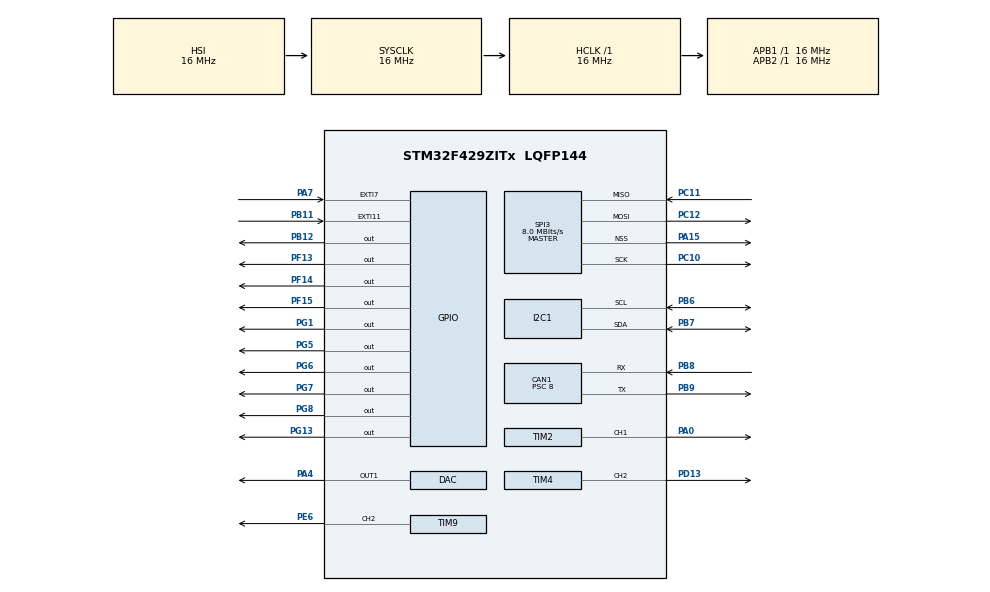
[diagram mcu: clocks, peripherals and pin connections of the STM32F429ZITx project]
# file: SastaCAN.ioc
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CAN1.BS1=CAN_BS1_2TQ
CAN1.CalculateBaudRate=500000
CAN1.CalculateTimeBit=2000.00
CAN1.CalculateTimeQuantum=500.0
CAN1.NART=DISABLE
CAN1.Prescaler=8
CAN1.TTCM=ENABLE
I2C1.OwnAddress=0
Mcu.Family=STM32F4
Mcu.Name=STM32F429ZITx
Mcu.Package=LQFP144
NVIC.CAN1_RX0_IRQn=true\:0\:0\:false\:false\:true\:true\:true
NVIC.EXTI15_10_IRQn=true\:0\:0\:false\:false\:true\:true\:true
NVIC.PriorityGroup=NVIC_PRIORITYGROUP_4
PA0/WKUP.Signal=S_TIM2_CH1_ETR
PA15.Mode=NSS_Signal_Hard_Output
PA15.Signal=SPI3_NSS
PA4.Signal=COMP_DAC1_group
PA7.Signal=GPXTI7
PB11.GPIO_PuPd=GPIO_NOPULL
PB11.Signal=GPXTI11
PB12.Signal=GPIO_Output
PB6.Mode=I2C
PB6.Signal=I2C1_SCL
PB7.Mode=I2C
PB7.Signal=I2C1_SDA
PB8.Mode=CAN_Activate
PB8.Signal=CAN1_RX
PB9.Mode=CAN_Activate
PB9.Signal=CAN1_TX
PC10.Mode=Full_Duplex_Master
PC10.Signal=SPI3_SCK
PC11.Mode=Full_Duplex_Master
PC11.Signal=SPI3_MISO
PC12.Mode=Full_Duplex_Master
PC12.Signal=SPI3_MOSI
PD13.Signal=S_TIM4_CH2
PE6.Signal=S_TIM9_CH2
PF13.Signal=GPIO_Output
PF14.Signal=GPIO_Output
PF15.Signal=GPIO_Output
PG1.Signal=GPIO_Output
PG13.Signal=GPIO_Output
PG5.Signal=GPIO_Output
PG6.Signal=GPIO_Output
PG7.Signal=GPIO_Output
PG8.Signal=GPIO_Output
PH0/OSC_IN.Mode=HSE-External-Oscillator
PH0/OSC_IN.Signal=RCC_OSC_IN
PH1/OSC_OUT.Mode=HSE-External-Oscillator
PH1/OSC_OUT.Signal=RCC_OSC_OUT
ProjectManager.HeapSize=0x200
ProjectManager.StackSize=0x400
ProjectManager.TargetToolchain=STM32CubeIDE
RCC.48MHZClocksFreq_Value=48000000
RCC.AHBFreq_Value=16000000
RCC.APB1Freq_Value=16000000
RCC.APB2Freq_Value=16000000
RCC.CortexFreq_Value=16000000
RCC.HSE_VALUE=16000000
RCC.HSI_VALUE=16000000
RCC.LSE_VALUE=32768
RCC.PLLSourceVirtual=RCC_PLLSOURCE_HSE
RCC.SYSCLKFreq_VALUE=16000000
RCC.VCOOutputFreq_Value=192000000
SH.COMP_DAC1_group.0=DAC_OUT1,DAC_OUT1
SH.S_TIM2_CH1_ETR.0=TIM2_CH1,PWM Generation1 CH1
SH.S_TIM4_CH2.0=TIM4_CH2,PWM Generation2 CH2
SH.S_TIM9_CH2.0=TIM9_CH2,PWM Generation2 CH2
SPI3.CalculateBaudRate=8.0 MBits/s
SPI3.Direction=SPI_DIRECTION_2LINES
SPI3.Mode=SPI_MODE_MASTER
SPI3.VirtualNSS=VM_NSSHARD
SPI3.VirtualType=VM_MASTER
TIM2.Channel-PWM\ Generation1\ CH1=TIM_CHANNEL_1
TIM2.Period=99
TIM2.Prescaler=15
TIM2.Pulse-PWM\ Generation1\ CH1=50
TIM4.Channel-PWM\ Generation2\ CH2=TIM_CHANNEL_2
TIM4.Period=99
TIM4.Prescaler=15
TIM4.Pulse-PWM\ Generation2\ CH2=50
TIM9.Channel-PWM\ Generation2\ CH2=TIM_CHANNEL_2
TIM9.Period=99
TIM9.Prescaler=15
TIM9.Pulse-PWM\ Generation2\ CH2=50
board=custom

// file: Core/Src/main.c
/* USER CODE BEGIN Header */
/**
  ******************************************************************************
  * @file           : main.c
  * @brief          : Main program body
  ******************************************************************************
  * @attention
  *
  * <h2><center>&copy; Copyright (c) 2021 STMicroelectronics.
  * All rights reserved.</center></h2>
  *
  * This software component is licensed by ST under BSD 3-Clause license,
  * the "License"; You may not use this file except in compliance with the
  * License. You may obtain a copy of the License at:
  *                        opensource.org/licenses/BSD-3-Clause
  *
  ******************************************************************************
  */

/*
 ***************************
 *    Flow chart summary   *
 ***************************
 *
 * 1. Board powered
 * 2. TSMS bit will send to front board board
 * 3. Front board after receiving data sent data to rear board received using interrupt.
 * 4. After receiving message id is matched
 * 5. if id matched: flagAction takes placed()
 * 6. Data send to motor controller, brakeLight()
 * **************************
 * tsms value is received using GPIOinterrupt
 ****************************
 */

/* USER CODE END Header */
#include "main.h"

CAN_HandleTypeDef hcan1;

DAC_HandleTypeDef hdac;

I2C_HandleTypeDef hi2c1;

SPI_HandleTypeDef hspi3;

TIM_HandleTypeDef htim2;
TIM_HandleTypeDef htim4;
TIM_HandleTypeDef htim9;

/* USER CODE BEGIN PV */
//uint8_t TxData[8];
//uint16_t RxData[4];
uint16_t id;
uint8_t analog;
uint32_t temp=0;

uint8_t tsms = 0;						//represent status of TS: false -> TS is off | true -> TS is on ||| feedback signal from RearECU
uint16_t APPS_range_err = 0;				//false -> in range | true -> out of range
uint16_t brk_range_err = 0;					//false -> in range | true -> out of range

uint16_t apps_avg = 0;
uint16_t brk_avg = 0;				//apps_avg -> APPS value | brk -> Brake value

//CAN vatiables
uint16_t front_rearid = 0x19;			//CAN message ID: front and rear comm.
uint8_t TxData[8];
uint16_t RxData[4];

uint16_t rtds_id = 0x10;
uint16_t rtds=0;

//Brakev vars
uint16_t brakelight_thresh = 1200;

uint32_t timestamp = 0;

//-------------------------------------------------------------------
uint16_t arr[4];
uint8_t brr[2];
/* USER CODE END PV */

void SystemClock_Config(void);
static void MX_GPIO_Init(void);
static void MX_CAN1_Init(void);
static void MX_TIM2_Init(void);
static void MX_DAC_Init(void);
static void MX_TIM4_Init(void);
static void MX_TIM9_Init(void);
static void MX_I2C1_Init(void);
static void MX_SPI3_Init(void);
/* USER CODE BEGIN PFP */
//void CANStart();
//void CANTransmit(uint32_t id,uint32_t IDE,uint32_t RTR,uint32_t DLC,uint8_t *data);
uint16_t flagsAction();
void transmitAPPSvalue();
void HAL_GPIO_EXTI_Callback(uint16_t GPIO_Pin);
void HAL_CAN_RxFifo0MsgPendingCallback(CAN_HandleTypeDef *hcan1);
void brakeLight();
void transmitAPPSvalue_DAC();
HAL_StatusTypeDef HAL_CAN_AddTxMessageType1(CAN_HandleTypeDef *hcan, CAN_TxHeaderTypeDef *pHeader, uint16_t aData[], uint8_t bData[], uint32_t *pTxMailbox);
void CANTransmit2(uint32_t id,uint32_t IDE,uint32_t RTR,uint32_t DLC,uint16_t *data1,uint16_t *data2);

/* USER CODE END PFP */

int main(void)
{

  /* MCU Configuration--------------------------------------------------------*/

  /* Reset of all peripherals, Initializes the Flash interface and the Systick. */
  HAL_Init();

  /* Configure the system clock */
  SystemClock_Config();

  /* Initialize all configured peripherals */
  MX_GPIO_Init();
  MX_CAN1_Init();
  MX_TIM2_Init();
  MX_DAC_Init();
  MX_TIM4_Init();
  MX_TIM9_Init();
  MX_I2C1_Init();
  MX_SPI3_Init();
  /* USER CODE BEGIN 2 */

//  HAL_TIM_Base_Start(&htim2);
//  HAL_TIM_PWM_Start(&htim2, TIM_CHANNEL_1);
//  //CANStart();
//
//  HAL_TIM_Base_Start(&htim4);
//  HAL_TIM_PWM_Start(&htim4, TIM_CHANNEL_2);
//
//  HAL_TIM_Base_Start(&htim9);
//  HAL_TIM_PWM_Start(&htim9, TIM_CHANNEL_2);
//
//  HAL_DAC_Start(&hdac, DAC_CHANNEL_1);
//  HAL_DAC_SetValue(&hdac, DAC_CHANNEL_1, DAC_ALIGN_12B_R, 0);
//
//  CAN_Start(&hcan1, CAN_IT_RX_FIFO0_MSG_PENDING | CAN_IT_RX_FIFO0_FULL | CAN_IT_RX_FIFO0_OVERRUN);
  /* USER CODE END 2 */

  /* Infinite loop */
  /* USER CODE BEGIN WHILE */
  while (1) {
//
	  TxData[1] = 123;
	  HAL_I2C_Slave_Transmit(&hi2c1, TxData, 8, 1000);
//	  arr[0] = 1235;
//	  arr[1] = 233;
//	  arr[2] = 0b111111011111;
//	  brr[0] = 34;
//	  brr[1] = 242;
//	  TxData[0] = 253;
	  //CAN_Transmit(&hcan1, front_rearid, 8, TxData);
	  //CANTransmit2(front_rearid, 0, 0, 8, arr, brr);
	  //CANTransmit(front_rearid, 0, 0, 8, TxData);
//	  transmitAPPSvalue();
//	  transmitAPPSvalue_DAC();
//	  brakeLight();
//	  HAL_Delay(10);
//	  //HAL_GPIO_TogglePin (GPIOG, GPIO_PIN_6);
//	  uint8_t DATA1[] = {1,4,3,2,1,12,5,4};
//
//	  //if(id==306)
//	 // CANTransmit((uint32_t)0x02, 0, 0, 8, DATA1);
//	  //HAL_Delay(500);
//	  //CANReceive();
//	  HAL_GPIO_TogglePin (GPIOG, GPIO_PIN_5);
//	  //HAL_DAC_SetValue(&hdac, DAC_CHANNEL_2, DAC_ALIGN_12B_R, 3000);
////	  HAL_DAC_SetValue(&hdac, DAC_CHANNEL_2, DAC_ALIGN_12B_R, temp);
////
////	  if (temp>360000) temp = 10000;
//	  //else temp = temp+2000;
//	  //HAL_GPIO_TogglePin (GPIOB, GPIO_PIN_12);
//	  //HAL_GPIO_TogglePin (GPIOG, GPIO_PIN_5);
//
//	  //__HAL_TIM_SET_COMPARE(&htim2, TIM_CHANNEL_1, analog/5*100);
//
//	  //HAL_Delay(5000);
//	  //HAL_DAC_SetValue(&hdac, DAC_CHANNEL_1, DAC_ALIGN_8B_R, 200);
//	  //transmitAPPSvalue_DAC();
//	  	  	  //Remove delay and switch to interrupts
//	  HAL_Delay(200);
    /* USER CODE END WHILE */

  }
}

void SystemClock_Config(void)
{
  RCC_OscInitTypeDef RCC_OscInitStruct = {0};
  RCC_ClkInitTypeDef RCC_ClkInitStruct = {0};

  /** Configure the main internal regulator output voltage
  */
  __HAL_RCC_PWR_CLK_ENABLE();
  __HAL_PWR_VOLTAGESCALING_CONFIG(PWR_REGULATOR_VOLTAGE_SCALE3);
  /** Initializes the RCC Oscillators according to the specified parameters
  * in the RCC_OscInitTypeDef structure.
  */
  RCC_OscInitStruct.OscillatorType = RCC_OSCILLATORTYPE_HSI;
  RCC_OscInitStruct.HSIState = RCC_HSI_ON;
  RCC_OscInitStruct.HSICalibrationValue = RCC_HSICALIBRATION_DEFAULT;
  RCC_OscInitStruct.PLL.PLLState = RCC_PLL_NONE;
  if (HAL_RCC_OscConfig(&RCC_OscInitStruct) != HAL_OK)
  {
    Error_Handler();
  }
  /** Initializes the CPU, AHB and APB buses clocks
  */
  RCC_ClkInitStruct.ClockType = RCC_CLOCKTYPE_HCLK|RCC_CLOCKTYPE_SYSCLK
                              |RCC_CLOCKTYPE_PCLK1|RCC_CLOCKTYPE_PCLK2;
  RCC_ClkInitStruct.SYSCLKSource = RCC_SYSCLKSOURCE_HSI;
  RCC_ClkInitStruct.AHBCLKDivider = RCC_SYSCLK_DIV1;
  RCC_ClkInitStruct.APB1CLKDivider = RCC_HCLK_DIV1;
  RCC_ClkInitStruct.APB2CLKDivider = RCC_HCLK_DIV1;

  if (HAL_RCC_ClockConfig(&RCC_ClkInitStruct, FLASH_LATENCY_0) != HAL_OK)
  {
    Error_Handler();
  }
}

static void MX_CAN1_Init(void)
{

  hcan1.Instance = CAN1;
  hcan1.Init.Prescaler = 8;
  hcan1.Init.Mode = CAN_MODE_NORMAL;
  hcan1.Init.SyncJumpWidth = CAN_SJW_1TQ;
  hcan1.Init.TimeSeg1 = CAN_BS1_2TQ;
  hcan1.Init.TimeSeg2 = CAN_BS2_1TQ;
  hcan1.Init.TimeTriggeredMode = ENABLE;
  hcan1.Init.AutoBusOff = DISABLE;
  hcan1.Init.AutoWakeUp = DISABLE;
  hcan1.Init.AutoRetransmission = DISABLE;
  hcan1.Init.ReceiveFifoLocked = DISABLE;
  hcan1.Init.TransmitFifoPriority = DISABLE;
  if (HAL_CAN_Init(&hcan1) != HAL_OK)
  {
    Error_Handler();
  }

}

static void MX_DAC_Init(void)
{

  DAC_ChannelConfTypeDef sConfig = {0};

  /** DAC Initialization
  */
  hdac.Instance = DAC;
  if (HAL_DAC_Init(&hdac) != HAL_OK)
  {
    Error_Handler();
  }
  /** DAC channel OUT1 config
  */
  sConfig.DAC_Trigger = DAC_TRIGGER_NONE;
  sConfig.DAC_OutputBuffer = DAC_OUTPUTBUFFER_ENABLE;
  if (HAL_DAC_ConfigChannel(&hdac, &sConfig, DAC_CHANNEL_1) != HAL_OK)
  {
    Error_Handler();
  }

}

static void MX_I2C1_Init(void)
{

  hi2c1.Instance = I2C1;
  hi2c1.Init.ClockSpeed = 100000;
  hi2c1.Init.DutyCycle = I2C_DUTYCYCLE_2;
  hi2c1.Init.OwnAddress1 = 0;
  hi2c1.Init.AddressingMode = I2C_ADDRESSINGMODE_7BIT;
  hi2c1.Init.DualAddressMode = I2C_DUALADDRESS_DISABLE;
  hi2c1.Init.OwnAddress2 = 0;
  hi2c1.Init.GeneralCallMode = I2C_GENERALCALL_DISABLE;
  hi2c1.Init.NoStretchMode = I2C_NOSTRETCH_DISABLE;
  if (HAL_I2C_Init(&hi2c1) != HAL_OK)
  {
    Error_Handler();
  }
  /** Configure Analogue filter
  */
  if (HAL_I2CEx_ConfigAnalogFilter(&hi2c1, I2C_ANALOGFILTER_ENABLE) != HAL_OK)
  {
    Error_Handler();
  }
  /** Configure Digital filter
  */
  if (HAL_I2CEx_ConfigDigitalFilter(&hi2c1, 0) != HAL_OK)
  {
    Error_Handler();
  }

}

static void MX_SPI3_Init(void)
{

  /* SPI3 parameter configuration*/
  hspi3.Instance = SPI3;
  hspi3.Init.Mode = SPI_MODE_MASTER;
  hspi3.Init.Direction = SPI_DIRECTION_2LINES;
  hspi3.Init.DataSize = SPI_DATASIZE_8BIT;
  hspi3.Init.CLKPolarity = SPI_POLARITY_LOW;
  hspi3.Init.CLKPhase = SPI_PHASE_1EDGE;
  hspi3.Init.NSS = SPI_NSS_HARD_OUTPUT;
  hspi3.Init.BaudRatePrescaler = SPI_BAUDRATEPRESCALER_2;
  hspi3.Init.FirstBit = SPI_FIRSTBIT_MSB;
  hspi3.Init.TIMode = SPI_TIMODE_DISABLE;
  hspi3.Init.CRCCalculation = SPI_CRCCALCULATION_DISABLE;
  hspi3.Init.CRCPolynomial = 10;
  if (HAL_SPI_Init(&hspi3) != HAL_OK)
  {
    Error_Handler();
  }

}

static void MX_TIM2_Init(void)
{

  TIM_MasterConfigTypeDef sMasterConfig = {0};
  TIM_OC_InitTypeDef sConfigOC = {0};

  htim2.Instance = TIM2;
  htim2.Init.Prescaler = 15;
  htim2.Init.CounterMode = TIM_COUNTERMODE_UP;
  htim2.Init.Period = 99;
  htim2.Init.ClockDivision = TIM_CLOCKDIVISION_DIV1;
  htim2.Init.AutoReloadPreload = TIM_AUTORELOAD_PRELOAD_DISABLE;
  if (HAL_TIM_PWM_Init(&htim2) != HAL_OK)
  {
    Error_Handler();
  }
  sMasterConfig.MasterOutputTrigger = TIM_TRGO_RESET;
  sMasterConfig.MasterSlaveMode = TIM_MASTERSLAVEMODE_DISABLE;
  if (HAL_TIMEx_MasterConfigSynchronization(&htim2, &sMasterConfig) != HAL_OK)
  {
    Error_Handler();
  }
  sConfigOC.OCMode = TIM_OCMODE_PWM1;
  sConfigOC.Pulse = 50;
  sConfigOC.OCPolarity = TIM_OCPOLARITY_HIGH;
  sConfigOC.OCFastMode = TIM_OCFAST_DISABLE;
  if (HAL_TIM_PWM_ConfigChannel(&htim2, &sConfigOC, TIM_CHANNEL_1) != HAL_OK)
  {
    Error_Handler();
  }
  HAL_TIM_MspPostInit(&htim2);

}

static void MX_TIM4_Init(void)
{

  TIM_MasterConfigTypeDef sMasterConfig = {0};
  TIM_OC_InitTypeDef sConfigOC = {0};

  htim4.Instance = TIM4;
  htim4.Init.Prescaler = 15;
  htim4.Init.CounterMode = TIM_COUNTERMODE_UP;
  htim4.Init.Period = 99;
  htim4.Init.ClockDivision = TIM_CLOCKDIVISION_DIV1;
  htim4.Init.AutoReloadPreload = TIM_AUTORELOAD_PRELOAD_DISABLE;
  if (HAL_TIM_PWM_Init(&htim4) != HAL_OK)
  {
    Error_Handler();
  }
  sMasterConfig.MasterOutputTrigger = TIM_TRGO_RESET;
  sMasterConfig.MasterSlaveMode = TIM_MASTERSLAVEMODE_DISABLE;
  if (HAL_TIMEx_MasterConfigSynchronization(&htim4, &sMasterConfig) != HAL_OK)
  {
    Error_Handler();
  }
  sConfigOC.OCMode = TIM_OCMODE_PWM1;
  sConfigOC.Pulse = 50;
  sConfigOC.OCPolarity = TIM_OCPOLARITY_HIGH;
  sConfigOC.OCFastMode = TIM_OCFAST_DISABLE;
  if (HAL_TIM_PWM_ConfigChannel(&htim4, &sConfigOC, TIM_CHANNEL_2) != HAL_OK)
  {
    Error_Handler();
  }
  HAL_TIM_MspPostInit(&htim4);

}

static void MX_TIM9_Init(void)
{

  TIM_OC_InitTypeDef sConfigOC = {0};

  htim9.Instance = TIM9;
  htim9.Init.Prescaler = 15;
  htim9.Init.CounterMode = TIM_COUNTERMODE_UP;
  htim9.Init.Period = 99;
  htim9.Init.ClockDivision = TIM_CLOCKDIVISION_DIV1;
  htim9.Init.AutoReloadPreload = TIM_AUTORELOAD_PRELOAD_DISABLE;
  if (HAL_TIM_PWM_Init(&htim9) != HAL_OK)
  {
    Error_Handler();
  }
  sConfigOC.OCMode = TIM_OCMODE_PWM1;
  sConfigOC.Pulse = 50;
  sConfigOC.OCPolarity = TIM_OCPOLARITY_HIGH;
  sConfigOC.OCFastMode = TIM_OCFAST_DISABLE;
  if (HAL_TIM_PWM_ConfigChannel(&htim9, &sConfigOC, TIM_CHANNEL_2) != HAL_OK)
  {
    Error_Handler();
  }
  HAL_TIM_MspPostInit(&htim9);

}

static void MX_GPIO_Init(void)
{
  GPIO_InitTypeDef GPIO_InitStruct = {0};

  /* GPIO Ports Clock Enable */
  __HAL_RCC_GPIOE_CLK_ENABLE();
  __HAL_RCC_GPIOH_CLK_ENABLE();
  __HAL_RCC_GPIOA_CLK_ENABLE();
  __HAL_RCC_GPIOF_CLK_ENABLE();
  __HAL_RCC_GPIOG_CLK_ENABLE();
  __HAL_RCC_GPIOB_CLK_ENABLE();
  __HAL_RCC_GPIOD_CLK_ENABLE();
  __HAL_RCC_GPIOC_CLK_ENABLE();

  /*Configure GPIO pin Output Level */
  HAL_GPIO_WritePin(GPIOF, GPIO_PIN_13|GPIO_PIN_14|GPIO_PIN_15, GPIO_PIN_RESET);

  /*Configure GPIO pin Output Level */
  HAL_GPIO_WritePin(GPIOG, GPIO_PIN_1|GPIO_PIN_5|GPIO_PIN_6|GPIO_PIN_7
                          |GPIO_PIN_8|GPIO_PIN_13, GPIO_PIN_RESET);

  /*Configure GPIO pin Output Level */
  HAL_GPIO_WritePin(GPIOB, GPIO_PIN_12, GPIO_PIN_RESET);

  /*Configure GPIO pin : PA7 */
  GPIO_InitStruct.Pin = GPIO_PIN_7;
  GPIO_InitStruct.Mode = GPIO_MODE_IT_RISING;
  GPIO_InitStruct.Pull = GPIO_NOPULL;
  HAL_GPIO_Init(GPIOA, &GPIO_InitStruct);

  /*Configure GPIO pins : PF13 PF14 PF15 */
  GPIO_InitStruct.Pin = GPIO_PIN_13|GPIO_PIN_14|GPIO_PIN_15;
  GPIO_InitStruct.Mode = GPIO_MODE_OUTPUT_PP;
  GPIO_InitStruct.Pull = GPIO_NOPULL;
  GPIO_InitStruct.Speed = GPIO_SPEED_FREQ_LOW;
  HAL_GPIO_Init(GPIOF, &GPIO_InitStruct);

  /*Configure GPIO pins : PG1 PG5 PG6 PG7
                           PG8 PG13 */
  GPIO_InitStruct.Pin = GPIO_PIN_1|GPIO_PIN_5|GPIO_PIN_6|GPIO_PIN_7
                          |GPIO_PIN_8|GPIO_PIN_13;
  GPIO_InitStruct.Mode = GPIO_MODE_OUTPUT_PP;
  GPIO_InitStruct.Pull = GPIO_NOPULL;
  GPIO_InitStruct.Speed = GPIO_SPEED_FREQ_LOW;
  HAL_GPIO_Init(GPIOG, &GPIO_InitStruct);

  /*Configure GPIO pin : PB11 */
  GPIO_InitStruct.Pin = GPIO_PIN_11;
  GPIO_InitStruct.Mode = GPIO_MODE_IT_RISING;
  GPIO_InitStruct.Pull = GPIO_NOPULL;
  HAL_GPIO_Init(GPIOB, &GPIO_InitStruct);

  /*Configure GPIO pin : PB12 */
  GPIO_InitStruct.Pin = GPIO_PIN_12;
  GPIO_InitStruct.Mode = GPIO_MODE_OUTPUT_PP;
  GPIO_InitStruct.Pull = GPIO_NOPULL;
  GPIO_InitStruct.Speed = GPIO_SPEED_FREQ_LOW;
  HAL_GPIO_Init(GPIOB, &GPIO_InitStruct);

  /* EXTI interrupt init*/
  HAL_NVIC_SetPriority(EXTI15_10_IRQn, 0, 0);
  HAL_NVIC_EnableIRQ(EXTI15_10_IRQn);

}

/* USER CODE BEGIN 4 */
//void CANStart()
//{
//	  CAN_FilterTypeDef filter;
//	  filter.FilterActivation = ENABLE;
//	  filter.FilterFIFOAssignment = CAN_FILTER_FIFO0;
//
//	  // Allow two IDs per entry
//	  filter.FilterScale = CAN_FILTERSCALE_16BIT;
//	  filter.FilterMode = CAN_FILTERMODE_IDMASK;
//
//	  filter.FilterMaskIdHigh = 0x0000;
//	  filter.FilterMaskIdLow  = 0x0000;
//
//	  filter.FilterIdLow  = 0x0000;
//	  filter.FilterIdHigh = 0x0000;
//
//	  filter.FilterBank = 0;
//
//
//	  if (HAL_CAN_ConfigFilter(&hcan1, &filter) != HAL_OK) {
//		  Error_Handler();
//	  }
//
//	  if (HAL_CAN_Start(&hcan1) != HAL_OK) {
//		  Error_Handler();
//	  }
//
//	  if(HAL_CAN_ActivateNotification(&hcan1, CAN_IT_RX_FIFO0_MSG_PENDING | CAN_IT_RX_FIFO0_FULL | CAN_IT_RX_FIFO0_OVERRUN) != HAL_OK){
//		  Error_Handler();
//	  }
//
//}
//
//void CANTransmit(uint32_t id,uint32_t IDE,uint32_t RTR,uint32_t DLC,uint8_t *data)
//{
//  uint32_t mailbox = 0x00U;
//  CAN_TxHeaderTypeDef Header;
//  Header.StdId= id;
//  Header.IDE= IDE;
//  Header.RTR= RTR;
//  Header.DLC= DLC;
//
//  if(HAL_CAN_GetTxMailboxesFreeLevel(&hcan1)>0) {
//	  if(HAL_CAN_AddTxMessage(&hcan1, &Header, data , &mailbox) == HAL_OK){
//		  //printf("HALOK\n");
//		  HAL_GPIO_TogglePin (GPIOG, GPIO_PIN_6);
//		  HAL_GPIO_TogglePin (GPIOF, GPIO_PIN_14);
//		  while(HAL_CAN_IsTxMessagePending(&hcan1,mailbox));
//	  }
//	  else {
//		  //printf("HALERROR\n");
//	  }
//
//  }
//  else
//  	  HAL_GPIO_TogglePin (GPIOG, GPIO_PIN_5);
//}
//
//
//void HAL_CAN_RxFifo0MsgPendingCallback(CAN_HandleTypeDef *hcan1) {
//	CAN_RxHeaderTypeDef Header;
//	//if(hcan -> Instance == CAN1)
//	if(HAL_CAN_GetRxMessage(hcan1, CAN_RX_FIFO0, &Header, RxData)==HAL_OK) {
//		  HAL_GPIO_TogglePin (GPIOG, GPIO_PIN_7);
//		  HAL_GPIO_TogglePin (GPIOF, GPIO_PIN_14);
//	  }
//}
//
///*
//void CANReceive()
//{
//  CAN_RxHeaderTypeDef Header;
//  if(HAL_CAN_GetRxMessage(&hcan1, CAN_RX_FIFO0, &Header, RxData)==HAL_OK) {
//	  id = Header.StdId;
//	  HAL_GPIO_TogglePin (GPIOG, GPIO_PIN_6);
//	  HAL_GPIO_TogglePin (GPIOF, GPIO_PIN_14);
//  }
//}
//
//*/
//
//void HAL_GPIO_EXTI_Callback(uint16_t GPIO_Pin)
//{
//  /* Prevent unused argument(s) compilation warning */
//  UNUSED(GPIO_Pin);
//  /* NOTE: This function Should not be modified, when the callback is needed,
//           the HAL_GPIO_EXTI_Callback could be implemented in the user file
//   */
//
//  //---------------- TSMS received using GPIO interrupt --------------------
//  if(GPIO_Pin == GPIO_PIN_11)
//  {
//	  HAL_GPIO_TogglePin(GPIOG, GPIO_PIN_6);
//	  //HALDelay(10);
//  }
//  //------------------------------------------------------------------------
//}
//
//void transmitAPPSvalue_DAC(){
//	temp=3000/3300 *(1<<12);
//	HAL_DAC_SetValue(&hdac, DAC_CHANNEL_1, DAC_ALIGN_8B_R, 200);
//}

void CANStart()
{
	  CAN_FilterTypeDef filter;
	  filter.FilterActivation = ENABLE;
	  filter.FilterFIFOAssignment = CAN_FILTER_FIFO0;

	  // Allow two IDs per entry
	  filter.FilterScale = CAN_FILTERSCALE_16BIT;
	  filter.FilterMode = CAN_FILTERMODE_IDMASK;

	  filter.FilterMaskIdHigh = 0x0000;
	  filter.FilterMaskIdLow  = 0x0000;

	  filter.FilterIdLow  = 0x0000;
	  filter.FilterIdHigh = 0x0000;

	  filter.FilterBank = 0;

	  if (HAL_CAN_ConfigFilter(&hcan1, &filter) != HAL_OK) {
		  Error_Handler();
	  }

	  if (HAL_CAN_Start(&hcan1) != HAL_OK) {
		  Error_Handler();
	  }

	  if(HAL_CAN_ActivateNotification(&hcan1, CAN_IT_RX_FIFO0_MSG_PENDING | CAN_IT_RX_FIFO0_FULL | CAN_IT_RX_FIFO0_OVERRUN) != HAL_OK){
		  Error_Handler();
	  }

}

void CANTransmit(uint32_t id,uint32_t IDE,uint32_t RTR,uint32_t DLC,uint8_t *data)
{
  uint32_t mailbox = 0x00U;
  CAN_TxHeaderTypeDef Header;
  Header.StdId= id;
  Header.IDE= IDE;
  Header.RTR= RTR;
  Header.DLC= DLC;

  if(HAL_CAN_GetTxMailboxesFreeLevel(&hcan1)>0) {
	  HAL_CAN_AddTxMessage(&hcan1, &Header, data , &mailbox);
	  HAL_GPIO_TogglePin (GPIOG, GPIO_PIN_8);
  }
  else HAL_GPIO_TogglePin (GPIOG, GPIO_PIN_7);
}

void CANTransmit2(uint32_t id,uint32_t IDE,uint32_t RTR,uint32_t DLC,uint16_t *data1,uint16_t *data2)
{
  uint32_t mailbox = 0x00U;
  CAN_TxHeaderTypeDef Header;
  Header.StdId= id;
  Header.IDE= IDE;
  Header.RTR= RTR;
  Header.DLC= DLC;

  if(HAL_CAN_GetTxMailboxesFreeLevel(&hcan1)>0) {
	  HAL_CAN_AddTxMessageType1(&hcan1, &Header, data1, data2, &mailbox);
	  HAL_GPIO_TogglePin (GPIOG, GPIO_PIN_8);
  }
  else HAL_GPIO_TogglePin (GPIOG, GPIO_PIN_7);
}

void HAL_CAN_RxFifo0MsgPendingCallback(CAN_HandleTypeDef *hcan1) {
	CAN_RxHeaderTypeDef Header;
	if(HAL_CAN_GetRxMessage(hcan1, CAN_RX_FIFO0, &Header, (uint8_t *)RxData)==HAL_OK) {
		timestamp = Header.Timestamp + HAL_GetTick();
		if(Header.StdId==0x14){
			  HAL_GPIO_TogglePin (GPIOG, GPIO_PIN_8);
			  apps_avg = RxData[0];
			  brk_avg = RxData[1];
			  APPS_range_err = RxData[2];
			  brk_range_err = RxData[3];
			  //flagsAction();
		}
		if(Header.StdId==0x10){
			  rtds=RxData[0];
			  if(rtds==1) HAL_GPIO_WritePin(GPIOB, GPIO_PIN_12, 1);
		}
	  }
	  else {
		  HAL_GPIO_TogglePin (GPIOG, GPIO_PIN_7);
	  }
}

void HAL_GPIO_EXTI_Callback(uint16_t GPIO_Pin)
{
  /* Prevent unused argument(s) compilation warning */
  UNUSED(GPIO_Pin);
  /* NOTE: This function Should not be modified, when the callback is needed,
           the HAL_GPIO_EXTI_Callback could be implemented in the user file
   */

  //---------------- TSMS received using GPIO interrupt --------------------
  if(GPIO_Pin == GPIO_PIN_7)
  {
	  if(!tsms) tsms = 1;
	  else tsms = 0;
	  HAL_GPIO_TogglePin(GPIOG, GPIO_PIN_7);
  }
  //------------------------------------------------------------------------
}

//uint16_t flagsAction(){
//	/*
//	 ******************
//	 *  Flags Action  *
//	 ******************
//	 *  |          flag            |      Action      |
//	 *  | apps_range | brake_range | ShutDown Circuit |
//	 *  |     0      |      0      |         0        |
//	 *  |     0      |      1      |         0        |
//	 *  |     1      |      0      |         1        |
//	 *  |     1      |      1      |         1        |
//	 *
//	 * *****************
//	 */
//
//	if (APPS_range_err == 1){
//		HAL_GPIO_WritePin(GPIOB, GPIO_PIN_12, 0);
//		return 0;
//	}
//	else{
//		HAL_GPIO_WritePin(GPIOB, GPIO_PIN_12, 1);
//		return 1;
//	}
//}

void brakeLight(){
	if (brk_avg>brakelight_thresh)
		HAL_GPIO_WritePin(GPIOA, GPIO_PIN_14, 1);
	else
		HAL_GPIO_WritePin(GPIOA, GPIO_PIN_14, 0);
}

void transmitAPPSvalue(){
	uint16_t analog_per = (apps_avg * 100)/((1<<12)-1);
    __HAL_TIM_SET_COMPARE(&htim4, TIM_CHANNEL_2, analog_per);
    __HAL_TIM_SET_COMPARE(&htim9, TIM_CHANNEL_2, analog_per);
}

void transmitAPPSvalue_DAC(){;
	HAL_DAC_SetValue(&hdac, DAC_CHANNEL_1, DAC_ALIGN_12B_R, apps_avg);
}

HAL_StatusTypeDef HAL_CAN_AddTxMessageType1(CAN_HandleTypeDef *hcan, CAN_TxHeaderTypeDef *pHeader, uint16_t aData[], uint8_t bData[], uint32_t *pTxMailbox)
{
  /*adata max length = 4 (12*4 = 48 bit)*/
  /*bdata max length = 2 (8**2 = 16 bit)*/

  /* Data in Regeister */
  /*
   *  TDHR --- |  12bit  |  12bit  |  8bit  |
   *  TDLR --- |  12bit  |  12bit  |  8bit  |
   */

  uint32_t transmitmailbox;
  HAL_CAN_StateTypeDef state = hcan->State;
  uint32_t tsr = READ_REG(hcan->Instance->TSR);

  /* Check the parameters */
  assert_param(IS_CAN_IDTYPE(pHeader->IDE));
  assert_param(IS_CAN_RTR(pHeader->RTR));
  assert_param(IS_CAN_DLC1(pHeader->DLC1));
  assert_param(IS_CAN_DLC2(pHeader->DLC2));
  if (pHeader->IDE == CAN_ID_STD)
  {
    assert_param(IS_CAN_STDID(pHeader->StdId));
  }
  else
  {
    assert_param(IS_CAN_EXTID(pHeader->ExtId));
  }
  assert_param(IS_FUNCTIONAL_STATE(pHeader->TransmitGlobalTime));

  if ((state == HAL_CAN_STATE_READY) ||
      (state == HAL_CAN_STATE_LISTENING))
  {
    /* Check that all the Tx mailboxes are not full */
    if (((tsr & CAN_TSR_TME0) != 0U) ||
        ((tsr & CAN_TSR_TME1) != 0U) ||
        ((tsr & CAN_TSR_TME2) != 0U))
    {
      /* Select an empty transmit mailbox */
      transmitmailbox = (tsr & CAN_TSR_CODE) >> CAN_TSR_CODE_Pos;

      /* Check transmit mailbox value */
      if (transmitmailbox > 2U)
      {
        /* Update error code */
        hcan->ErrorCode |= HAL_CAN_ERROR_INTERNAL;

        return HAL_ERROR;
      }

      /* Store the Tx mailbox */
      *pTxMailbox = (uint32_t)1 << transmitmailbox;

      /* Set up the Id */
      if (pHeader->IDE == CAN_ID_STD)
      {
        hcan->Instance->sTxMailBox[transmitmailbox].TIR = ((pHeader->StdId << CAN_TI0R_STID_Pos) |
                                                           pHeader->RTR);
      }
      else
      {
        hcan->Instance->sTxMailBox[transmitmailbox].TIR = ((pHeader->ExtId << CAN_TI0R_EXID_Pos) |
                                                           pHeader->IDE |
                                                           pHeader->RTR);
      }

      /* Set up the DLC */
      hcan->Instance->sTxMailBox[transmitmailbox].TDTR = (pHeader->DLC);

      /* Set up the Transmit Global Time mode */
      if (pHeader->TransmitGlobalTime == ENABLE)
      {
        SET_BIT(hcan->Instance->sTxMailBox[transmitmailbox].TDTR, CAN_TDT0R_TGT);
      }

      /* Set up the data field */
      WRITE_REG(hcan->Instance->sTxMailBox[transmitmailbox].TDHR, ((uint32_t)aData[3] << 20) | ((uint32_t)aData[2] << 8) | ((uint32_t)bData[1] << 0));
      WRITE_REG(hcan->Instance->sTxMailBox[transmitmailbox].TDLR, ((uint32_t)aData[1] << 20) | ((uint32_t)aData[0] << 8) | ((uint32_t)bData[0] << 0));

      /* Request transmission */
      SET_BIT(hcan->Instance->sTxMailBox[transmitmailbox].TIR, CAN_TI0R_TXRQ);

      /* Return function status */
      return HAL_OK;
    }
    else
    {
      /* Update error code */
      hcan->ErrorCode |= HAL_CAN_ERROR_PARAM;

      return HAL_ERROR;
    }
  }
  else
  {
    /* Update error code */
    hcan->ErrorCode |= HAL_CAN_ERROR_NOT_INITIALIZED;

    return HAL_ERROR;
  }
}

/* USER CODE END 4 */

void Error_Handler(void)
{
}

/************************ (C) COPYRIGHT STMicroelectronics *****END OF FILE****/
